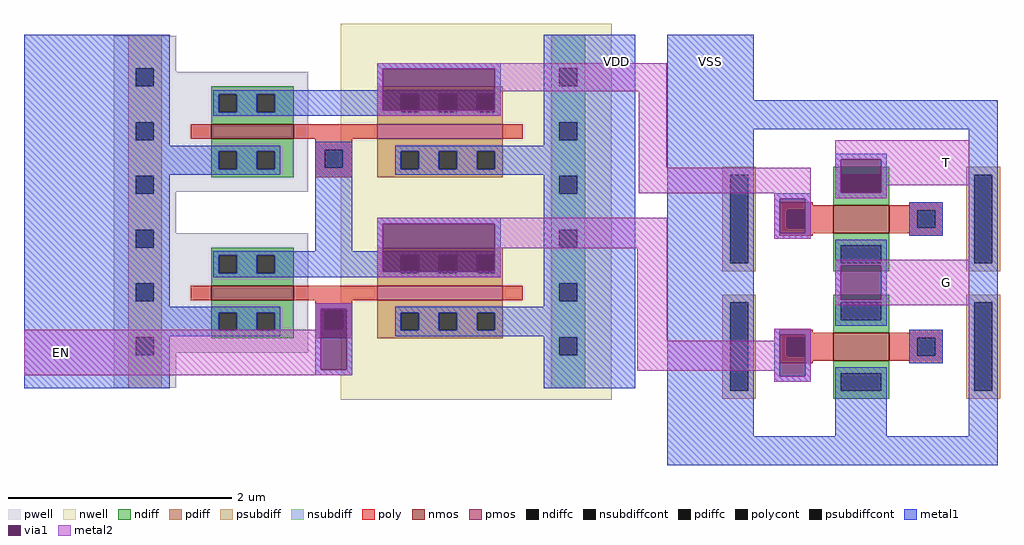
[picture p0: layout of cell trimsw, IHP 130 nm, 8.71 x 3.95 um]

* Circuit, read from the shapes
.subckt trimsw G T VSS VDD EN
XM1 sg13g2_inv_1_0/A EN VSS VSS sg13_lv_nmos w=0.74u l=0.13u
XM2 sg13g2_inv_1_0/Y sg13g2_inv_1_0/A VSS VSS sg13_lv_nmos w=0.74u l=0.13u
XM3 G sg13g2_inv_1_0/A VSS VSS sg13_lv_nmos w=0.5u l=0.25u
XM4 T sg13g2_inv_1_0/Y G VSS sg13_lv_nmos w=0.5u l=0.25u
XM5 sg13g2_inv_1_0/A EN VDD VDD sg13_lv_pmos w=1.12u l=0.13u
XM6 sg13g2_inv_1_0/Y sg13g2_inv_1_0/A VDD VDD sg13_lv_pmos w=1.12u l=0.13u
.ends

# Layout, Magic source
magic
tech ihp-sg13g2
magscale 1 2
<< psubdiff >>
rect -9338 -41 -9278 -10
rect -9338 -641 -9278 -613
<< nsubdiff >>
rect -8582 -39 -8522 -10
rect -8582 -641 -8522 -613
<< metal1 >>
rect -9524 -641 -9264 -10
rect -8893 -71 -8673 -61
rect -8893 -145 -8883 -71
rect -8683 -145 -8673 -71
rect -8893 -155 -8673 -145
rect -9004 -409 -8938 -201
rect -8893 -347 -8673 -337
rect -8893 -433 -8883 -347
rect -8683 -433 -8673 -347
rect -8893 -443 -8673 -433
rect -9004 -499 -8938 -489
rect -9004 -608 -8994 -499
rect -8948 -608 -8938 -499
rect -9004 -618 -8938 -608
rect -8596 -641 -8432 -10
rect -8375 -127 -8221 -10
rect -8375 -179 -7785 -127
rect -8375 -727 -8221 -179
rect -8075 -232 -7983 -222
rect -8075 -292 -8065 -232
rect -7993 -292 -7983 -232
rect -8184 -303 -8119 -293
rect -8075 -302 -7983 -292
rect -8184 -364 -8174 -303
rect -8129 -364 -8119 -303
rect -8184 -374 -8119 -364
rect -7943 -369 -7883 -309
rect -8075 -422 -7983 -376
rect -8075 -483 -8065 -422
rect -7993 -483 -7983 -422
rect -8075 -530 -7983 -483
rect -8184 -545 -8119 -535
rect -8184 -620 -8174 -545
rect -8129 -620 -8119 -545
rect -7943 -597 -7883 -537
rect -8184 -630 -8119 -620
rect -8075 -727 -7983 -604
rect -7837 -727 -7785 -179
rect -8375 -779 -7785 -727
<< via1 >>
rect -8883 -145 -8683 -71
rect -8883 -433 -8683 -347
rect -8994 -608 -8948 -499
rect -8065 -292 -7993 -232
rect -8174 -364 -8129 -303
rect -8065 -483 -7993 -422
rect -8174 -620 -8129 -545
<< metal2 >>
rect -8893 -71 -8376 -61
rect -8893 -145 -8883 -71
rect -8683 -111 -8376 -71
rect -8683 -145 -8673 -111
rect -8893 -155 -8673 -145
rect -8426 -247 -8376 -111
rect -8075 -232 -7836 -198
rect -8426 -293 -8119 -247
rect -8184 -303 -8119 -293
rect -8075 -292 -8065 -232
rect -7993 -279 -7836 -232
rect -7993 -292 -7983 -279
rect -8075 -302 -7983 -292
rect -8893 -347 -8375 -337
rect -8893 -433 -8883 -347
rect -8683 -391 -8375 -347
rect -8184 -364 -8174 -303
rect -8129 -364 -8119 -303
rect -8184 -374 -8119 -364
rect -8683 -433 -8673 -391
rect -8893 -443 -8673 -433
rect -9004 -499 -8938 -489
rect -9004 -537 -8994 -499
rect -9524 -608 -8994 -537
rect -8948 -608 -8938 -499
rect -9524 -618 -8938 -608
rect -8429 -556 -8375 -391
rect -8075 -422 -7836 -412
rect -8075 -483 -8065 -422
rect -7993 -483 -7836 -422
rect -8075 -493 -7836 -483
rect -8184 -545 -8119 -535
rect -8184 -556 -8174 -545
rect -8429 -610 -8174 -556
rect -8184 -620 -8174 -610
rect -8129 -620 -8119 -545
rect -8184 -630 -8119 -620
use lvnmos_HKFTVP  lvnmos_HKFTVP_0
transform 0 1 -8029 -1 0 -339
box -93 -248 93 248
use lvnmos_HKFTVP  lvnmos_HKFTVP_1
transform 0 1 -8029 -1 0 -567
box -93 -248 93 248
use sg13g2_not_1  sg13g2_inv_1_0
transform 0 1 -9308 1 0 -326
box -48 -56 336 834
use sg13g2_not_1  sg13g2_inv_1_1
transform 0 1 -9308 1 0 -614
box -48 -56 336 834
<< labels >>
flabel metal2 -7917 -493 -7836 -412 0 FreeSans 320 0 0 0 G
port 10 nsew
flabel metal2 -7917 -279 -7836 -198 0 FreeSans 320 0 0 0 T
port 11 nsew
flabel metal1 -8375 -106 -8221 -10 0 FreeSans 320 0 0 0 VSS
port 12 nsew
flabel metal1 -8499 -106 -8432 -10 0 FreeSans 320 0 0 0 VDD
port 13 nsew
flabel metal2 -9524 -618 -9389 -537 0 FreeSans 320 0 0 0 EN
port 17 nsew
<< end >>

# cell lvnmos_HKFTVP: kit device lvnmos, w 0.5 l 0.25 nf 1 nx 1 dx 0.21 ny 1 dy 0.18 wmin 0.50 lmin 0.50 class mosfet gcontcov_t 100 gcontcov_b 100 dcontcov_l 100 dcontcov_r 100 guard_distf 1.5 glc 0 grc 0 gtc 1 gbc 1

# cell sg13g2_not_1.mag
magic
tech ihp-sg13g2
magscale 1 2
<< nwell >>
rect -48 350 336 834
<< pwell >>
rect 36 56 250 292
rect -26 -56 314 56
<< nmos >>
rect 130 118 156 266
<< pmos >>
rect 130 415 156 639
<< ndiff >>
rect 62 232 130 266
rect 62 200 76 232
rect 108 200 130 232
rect 62 164 130 200
rect 62 132 76 164
rect 108 132 130 164
rect 62 118 130 132
rect 156 232 224 266
rect 156 200 178 232
rect 210 200 224 232
rect 156 164 224 200
rect 156 132 178 164
rect 210 132 224 164
rect 156 118 224 132
<< pdiff >>
rect 62 625 130 639
rect 62 593 76 625
rect 108 593 130 625
rect 62 557 130 593
rect 62 525 76 557
rect 108 525 130 557
rect 62 489 130 525
rect 62 457 76 489
rect 108 457 130 489
rect 62 415 130 457
rect 156 625 224 639
rect 156 593 178 625
rect 210 593 224 625
rect 156 557 224 593
rect 156 525 178 557
rect 210 525 224 557
rect 156 489 224 525
rect 156 457 178 489
rect 210 457 224 489
rect 156 415 224 457
<< ndiffc >>
rect 76 200 108 232
rect 76 132 108 164
rect 178 200 210 232
rect 178 132 210 164
<< pdiffc >>
rect 76 593 108 625
rect 76 525 108 557
rect 76 457 108 489
rect 178 593 210 625
rect 178 525 210 557
rect 178 457 210 489
<< psubdiff >>
rect 0 16 288 30
rect 0 -16 32 16
rect 64 -16 128 16
rect 160 -16 224 16
rect 256 -16 288 16
rect 0 -30 288 -16
<< nsubdiff >>
rect 0 772 288 786
rect 0 740 32 772
rect 64 740 128 772
rect 160 740 224 772
rect 256 740 288 772
rect 0 726 288 740
<< psubdiffcont >>
rect 32 -16 64 16
rect 128 -16 160 16
rect 224 -16 256 16
<< nsubdiffcont >>
rect 32 740 64 772
rect 128 740 160 772
rect 224 740 256 772
<< poly >>
rect 130 639 156 675
rect 130 370 156 415
rect 62 353 156 370
rect 62 321 79 353
rect 111 321 156 353
rect 62 304 156 321
rect 130 266 156 304
rect 130 82 156 118
<< polycont >>
rect 79 321 111 353
<< metal1 >>
rect 0 772 288 800
rect 0 740 32 772
rect 64 740 128 772
rect 160 740 224 772
rect 256 740 288 772
rect 0 712 288 740
rect 66 625 118 712
rect 66 593 76 625
rect 108 593 118 625
rect 66 557 118 593
rect 66 525 76 557
rect 108 525 118 557
rect 66 489 118 525
rect 66 457 76 489
rect 108 457 118 489
rect 66 447 118 457
rect 171 625 217 635
rect 171 593 178 625
rect 210 593 217 625
rect 171 557 217 593
rect 171 525 178 557
rect 210 525 217 557
rect 171 489 217 525
rect 171 457 178 489
rect 210 457 217 489
rect 62 353 125 370
rect 62 321 79 353
rect 111 321 125 353
rect 62 304 125 321
rect 66 232 118 242
rect 66 200 76 232
rect 108 200 118 232
rect 66 164 118 200
rect 66 132 76 164
rect 108 132 118 164
rect 66 44 118 132
rect 171 232 217 457
rect 171 200 178 232
rect 210 200 217 232
rect 171 164 217 200
rect 171 132 178 164
rect 210 132 217 164
rect 171 122 217 132
rect 0 16 288 44
rect 0 -16 32 16
rect 64 -16 128 16
rect 160 -16 224 16
rect 256 -16 288 16
rect 0 -44 288 -16
<< labels >>
flabel metal1 s 171 122 217 635 0 FreeSans 400 0 0 0 Y
port 2 nsew
flabel metal1 s 62 304 125 370 0 FreeSans 400 0 0 0 A
port 3 nsew
flabel metal1 s 0 -44 288 44 0 FreeSans 400 0 0 0 VSS
port 4 nsew
flabel metal1 s 0 712 288 800 0 FreeSans 400 0 0 0 VDD
port 5 nsew
<< properties >>
string FIXED_BBOX 0 0 288 756
string GDS_END 306388
string GDS_FILE sg13g2_stdcell.gds
string GDS_START 303452
<< end >>
